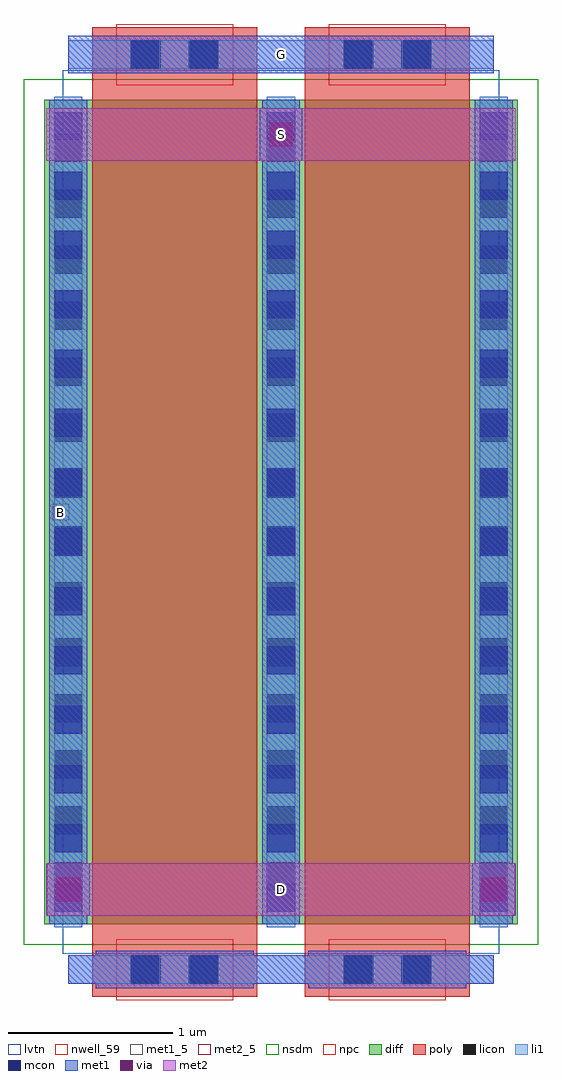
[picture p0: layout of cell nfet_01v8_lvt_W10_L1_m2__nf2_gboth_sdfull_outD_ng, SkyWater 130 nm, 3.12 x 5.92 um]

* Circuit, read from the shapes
.subckt nfet_01v8_lvt_W10_L1_m2__nf2_gboth_sdfull_outD_ng B D G S
XM1 S G D B sky130_fd_pr__nfet_01v8_lvt w=5 l=1 m=2
.ends

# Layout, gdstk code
import gdstk
lib = gdstk.Library(unit=1e-6, precision=1e-09)
def R(c, l, rs):  # rectangles x0, y0, x1, y1
    for r in rs: c.add(gdstk.rectangle(r[:2], r[2:], *l))
def A(c, l, x, y, w, h, nx, ny, dx, dy):  # array of equal rectangles
    R(c, l, [(x+i*dx, y+j*dy, x+i*dx+w, y+j*dy+h) for i in range(nx) for j in range(ny)])
nwell_59 = (64, 59)
diff = (65, 20)
poly = (66, 20)
licon = (66, 44)
li1 = (67, 20)
mcon = (67, 44)
met1_5 = (68, 5)
met1 = (68, 20)
via = (68, 44)
met2_5 = (69, 5)
met2 = (69, 20)
nsdm = (93, 44)
npc = (95, 20)
lvtn = (125, 44)

sky130_fd_pr__nfet_01v8_ = lib.new_cell('sky130_fd_pr__nfet_01v8_lvt_GUAJ7R')
R(sky130_fd_pr__nfet_01v8_, diff, [(-1.435,-2.5,1.435,2.5)])
R(sky130_fd_pr__nfet_01v8_, poly, [(-1.145,-2.94,-0.145,2.94), (0.145,-2.94,1.145,2.94)])
A(sky130_fd_pr__nfet_01v8_, licon, -1.375, -2.295, 0.17, 0.17, 3, 14, 1.29, 0.34)
R(sky130_fd_pr__nfet_01v8_, licon, [(-0.9,-2.86,-0.73,-2.69), (-0.56,-2.86,-0.39,-2.69), (0.39,-2.86,0.56,-2.69), (0.73,-2.86,0.9,-2.69), (-0.9,2.69,-0.73,2.86), (-0.56,2.69,-0.39,2.86), (0.39,2.69,0.56,2.86), (0.73,2.69,0.9,2.86)])
A(sky130_fd_pr__nfet_01v8_, li1, -1.375, -2.52, 0.17, 5.04, 3, 1, 1.29, 0)
R(sky130_fd_pr__nfet_01v8_, li1, [(-1.29,-2.86,1.29,-2.69), (-1.29,2.69,1.29,2.86)])
A(sky130_fd_pr__nfet_01v8_, mcon, -1.375, -2.425, 0.17, 0.17, 3, 14, 1.29, 0.36)
R(sky130_fd_pr__nfet_01v8_, mcon, [(-0.91,-2.86,-0.74,-2.69), (-0.55,-2.86,-0.38,-2.69), (0.38,-2.86,0.55,-2.69), (0.74,-2.86,0.91,-2.69), (-0.91,2.69,-0.74,2.86), (-0.55,2.69,-0.38,2.86), (0.38,2.69,0.55,2.86), (0.74,2.69,0.91,2.86)])
A(sky130_fd_pr__nfet_01v8_, met1, -1.405, -2.5, 0.23, 5, 3, 1, 1.29, 0)
R(sky130_fd_pr__nfet_01v8_, met1, [(-1.125,-2.89,-0.165,-2.86), (0.165,-2.89,1.125,-2.86), (-1.29,-2.86,1.29,-2.69), (-1.125,-2.69,-0.165,-2.66), (0.165,-2.69,1.125,-2.66), (-1.125,2.66,-0.165,2.69), (0.165,2.66,1.125,2.69), (-1.29,2.69,1.29,2.86), (-1.125,2.86,-0.165,2.89), (0.165,2.86,1.125,2.89)])
R(sky130_fd_pr__nfet_01v8_, nsdm, [(-1.56,-2.625,1.56,2.625)])
R(sky130_fd_pr__nfet_01v8_, npc, [(-1,-2.96,-0.29,-2.59), (0.29,-2.96,1,-2.59), (-1,2.59,-0.29,2.96), (0.29,2.59,1,2.96)])
R(sky130_fd_pr__nfet_01v8_, lvtn, [(-1.325,-2.68,1.325,2.68)])
sky130_fd_pr__nfet_01v8_.add(gdstk.Label('D0', (-1.29,0), layer=67, texttype=5))
sky130_fd_pr__nfet_01v8_.add(gdstk.Label('G', (0.645,2.775), layer=67, texttype=5))
sky130_fd_pr__nfet_01v8_.add(gdstk.Label('G', (-0.645,2.775), layer=67, texttype=5))
sky130_fd_pr__nfet_01v8_.add(gdstk.Label('S1', (0,0), layer=67, texttype=5))

nfet_01v8_lvt_w10_l1_m2_ = lib.new_cell('nfet_01v8_lvt_W10_L1_m2__nf2_gboth_sdfull_outD_ng')
R(nfet_01v8_lvt_w10_l1_m2_, nwell_59, [(0.05,2.89,0.15,2.99)])
R(nfet_01v8_lvt_w10_l1_m2_, met1_5, [(0.145,5.6,2.725,5.83)])
R(nfet_01v8_lvt_w10_l1_m2_, met1, [(0.015,0.49,0.275,0.81), (2.595,0.49,2.855,0.81), (1.305,5.07,1.565,5.39), (0.145,5.6,2.725,5.83)])
R(nfet_01v8_lvt_w10_l1_m2_, via, [(0.07,0.575,0.22,0.725), (2.65,0.575,2.8,0.725), (1.36,5.155,1.51,5.305)])
R(nfet_01v8_lvt_w10_l1_m2_, met2_5, [(0.01,0.49,2.86,0.81), (0.01,5.07,2.86,5.39)])
R(nfet_01v8_lvt_w10_l1_m2_, met2, [(0.01,0.49,2.86,0.81), (0.01,5.07,2.86,5.39)])
nfet_01v8_lvt_w10_l1_m2_.add(gdstk.Reference(sky130_fd_pr__nfet_01v8_, (1.435,2.94)))
nfet_01v8_lvt_w10_l1_m2_.add(gdstk.Label('S', (1.435,5.23), layer=69, texttype=5))
nfet_01v8_lvt_w10_l1_m2_.add(gdstk.Label('D', (1.435,0.65), layer=69, texttype=5))
nfet_01v8_lvt_w10_l1_m2_.add(gdstk.Label('G', (1.435,5.715), layer=68, texttype=5))
nfet_01v8_lvt_w10_l1_m2_.add(gdstk.Label('B', (0.1,2.94), layer=64, texttype=59))

lib.write_gds('nfet_01v8_lvt_W10_L1_m2__nf2_gboth_sdfull_outD_ng.gds')
